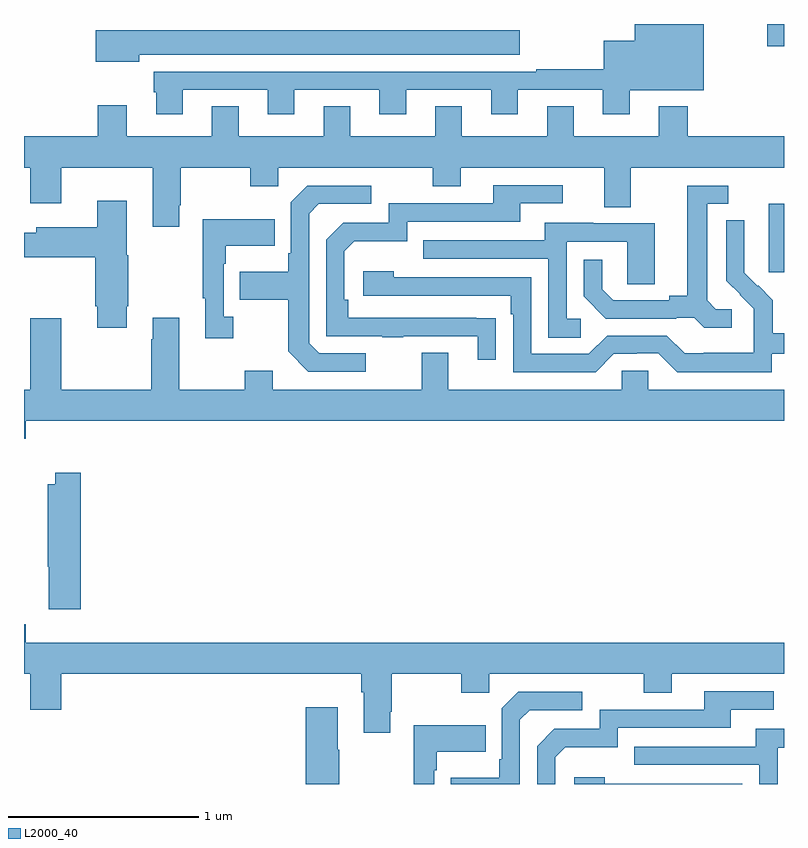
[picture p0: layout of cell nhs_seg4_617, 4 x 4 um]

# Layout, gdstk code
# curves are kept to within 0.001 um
import gdstk
lib = gdstk.Library(unit=1e-6, precision=1e-09)
def R(c, l, rs):  # rectangles x0, y0, x1, y1
    for r in rs: c.add(gdstk.rectangle(r[:2], r[2:], *l))
def P(c, l, *ps):  # polygons
    for p in ps: c.add(gdstk.Polygon(p, *l))
L2000_40 = (2000, 40)

nhs_seg4_617 = lib.new_cell('nhs_seg4_617')
R(nhs_seg4_617, L2000_40, [(144.92,805.593,145,805.954), (144.912,806.782,145,806.9)])
P(nhs_seg4_617, L2000_40, [(141.835,806.553),(142.283,806.553),(142.283,806.424),(142.423,806.424),(142.423,806.553),(142.871,806.553),(142.871,806.424),(143.011,806.424),(143.011,806.553),(143.459,806.553),(143.459,806.424),(143.599,806.424),(143.599,806.553),(144.047,806.553),(144.047,806.424),(144.187,806.424),(144.187,806.552),(144.577,806.552),(144.577,806.9),(144.215,806.9),(144.215,806.812),(144.05,806.812),(144.05,806.662),(143.695,806.662),(143.695,806.649),(141.683,806.649),(141.683,806.541),(141.695,806.541),(141.695,806.424),(141.835,806.424)],
  [(141.607,806.738),(143.608,806.738),(143.608,806.866),(141.378,806.866),(141.378,806.702),(141.607,806.702)],
  [(144.053,805.936),(144.193,805.936),(144.193,806.144),(145,806.144),(145,806.308),(144.494,806.308),(144.494,806.467),(144.341,806.467),(144.341,806.308),(143.893,806.308),(143.893,806.468),(143.753,806.468),(143.753,806.308),(143.305,806.308),(143.305,806.468),(143.165,806.468),(143.165,806.308),(142.717,806.308),(142.717,806.468),(142.577,806.468),(142.577,806.308),(142.129,806.308),(142.129,806.468),(141.989,806.468),(141.989,806.308),(141.541,806.308),(141.541,806.473),(141.389,806.473),(141.389,806.308),(141,806.308),(141,806.144),(141.032,806.144),(141.032,805.956),(141.196,805.956),(141.196,806.144),(141.677,806.144),(141.677,805.833),(141.817,805.833),(141.817,805.945),(141.825,805.945),(141.825,806.144),(142.192,806.144),(142.192,806.045),(142.338,806.045),(142.338,806.144),(143.152,806.144),(143.152,806.045),(143.299,806.045),(143.299,806.144),(144.053,806.144)],
  [(143.483,805.352),(142.706,805.353),(142.706,805.45),(142.686,805.45),(142.686,805.704),(142.739,805.757),(143.016,805.757),(143.016,805.86),(143.611,805.86),(143.611,805.956),(143.836,805.956),(143.836,806.052),(143.471,806.052),(143.471,805.956),(142.92,805.956),(142.92,805.854),(142.68,805.854),(142.59,805.764),(142.59,805.257),(142.885,805.257),(142.885,805.252),(142.997,805.252),(142.997,805.257),(143.387,805.257),(143.387,805.134),(143.483,805.134)],
  [(142.798,805.167),(142.554,805.167),(142.5,805.221),(142.5,805.902),(142.551,805.953),(142.828,805.953),(142.828,806.049),(142.491,806.049),(142.404,805.962),(142.404,805.693),(142.392,805.693),(142.392,805.597),(142.135,805.597),(142.135,805.45),(142.392,805.45),(142.392,805.177),(142.497,805.071),(142.798,805.071)],
  [(144.724,805.398),(144.642,805.398),(144.595,805.445),(144.595,805.953),(144.706,805.953),(144.706,806.049),(144.491,806.049),(144.491,805.469),(144.395,805.469),(144.395,805.446),(144.1,805.446),(144.043,805.503),(144.043,805.66),(143.946,805.66),(143.946,805.466),(144.062,805.35),(144.434,805.35),(144.434,805.353),(144.528,805.353),(144.58,805.301),(144.724,805.301)],
  [(141.541,805.414),(141.549,805.414),(141.549,805.683),(141.541,805.683),(141.541,805.969),(141.386,805.969),(141.386,805.831),(141.065,805.831),(141.065,805.801),(141,805.801),(141,805.672),(141.374,805.672),(141.374,805.414),(141.386,805.414),(141.386,805.302),(141.541,805.302)],
  [(142.102,805.358),(142.05,805.358),(142.05,805.637),(142.063,805.637),(142.063,805.733),(142.319,805.733),(142.319,805.873),(141.942,805.873),(141.942,805.457),(141.953,805.457),(141.953,805.245),(142.102,805.245)],
  [(144.936,805.164),(145,805.164),(145,805.273),(144.941,805.273),(144.941,805.447),(144.864,805.524),(144.861,805.521),(144.791,805.592),(144.792,805.868),(144.696,805.868),(144.696,805.55),(144.842,805.402),(144.842,805.305),(144.84,805.305),(144.84,805.171),(144.577,805.171),(144.577,805.167),(144.477,805.167),(144.384,805.26),(144.069,805.26),(143.973,805.164),(143.67,805.164),(143.67,805.566),(142.946,805.566),(142.946,805.6),(142.785,805.6),(142.785,805.47),(143.561,805.47),(143.561,805.373),(143.574,805.373),(143.574,805.068),(144.009,805.068),(144.105,805.164),(144.224,805.164),(144.224,805.167),(144.339,805.167),(144.439,805.067),(144.936,805.067)],
  [(143.929,805.35),(143.856,805.35),(143.856,805.755),(144.174,805.755),(144.174,805.531),(144.319,805.531),(144.319,805.851),(143.995,805.851),(143.995,805.855),(143.741,805.855),(143.741,805.761),(143.101,805.761),(143.101,805.665),(143.76,805.665),(143.76,805.249),(143.929,805.249)],
  [(141.008,804.812),(145,804.812),(145,804.976),(144.285,804.976),(144.285,805.074),(144.147,805.074),(144.147,804.976),(143.233,804.976),(143.233,805.171),(143.093,805.171),(143.093,804.976),(142.309,804.976),(142.309,805.075),(142.162,805.075),(142.162,804.976),(141.817,804.976),(141.817,805.354),(141.677,805.354),(141.677,805.241),(141.67,805.241),(141.67,804.976),(141.196,804.976),(141.196,805.351),(141.032,805.351),(141.032,804.976),(141,804.976),(141,804.716),(141.008,804.716)],
  [(141.299,804.538),(141.164,804.538),(141.164,804.478),(141.124,804.478),(141.124,804.043),(141.131,804.043),(141.131,803.82),(141.299,803.82)],
  [(142.927,803.281),(142.935,803.281),(142.935,803.48),(143.302,803.48),(143.302,803.381),(143.448,803.381),(143.448,803.48),(144.262,803.48),(144.262,803.381),(144.409,803.381),(144.409,803.48),(145,803.48),(145,803.644),(141.008,803.644),(141.008,803.74),(141,803.74),(141,803.48),(141.032,803.48),(141.032,803.292),(141.196,803.292),(141.196,803.48),(142.775,803.48),(142.775,803.384),(142.787,803.384),(142.787,803.169),(142.927,803.169)],
  [(143.796,803.04),(143.849,803.093),(144.126,803.093),(144.126,803.196),(144.721,803.196),(144.721,803.292),(144.946,803.292),(144.946,803.388),(144.581,803.388),(144.581,803.292),(144.03,803.292),(144.03,803.19),(143.79,803.19),(143.7,803.1),(143.7,802.9),(143.796,802.9)],
  [(143.61,803.238),(143.661,803.289),(143.938,803.289),(143.938,803.385),(143.601,803.385),(143.514,803.298),(143.514,803.029),(143.502,803.029),(143.502,802.933),(143.245,802.933),(143.245,802.9),(143.61,802.9)],
  [(142.659,803.081),(142.651,803.081),(142.651,803.305),(142.484,803.305),(142.484,802.9),(142.659,802.9)],
  [(143.16,802.973),(143.173,802.973),(143.173,803.069),(143.429,803.069),(143.429,803.209),(143.052,803.209),(143.052,802.9),(143.16,802.9)],
  [(144.966,803.091),(145,803.091),(145,803.191),(144.851,803.191),(144.851,803.097),(144.211,803.097),(144.211,803.001),(144.87,803.001),(144.87,802.9),(144.966,802.9)],
  [(144.78,802.902),(144.056,802.902),(144.056,802.936),(143.895,802.936),(143.895,802.9),(144.78,802.9)])

lib.write_gds('nhs_seg4_617.gds')
